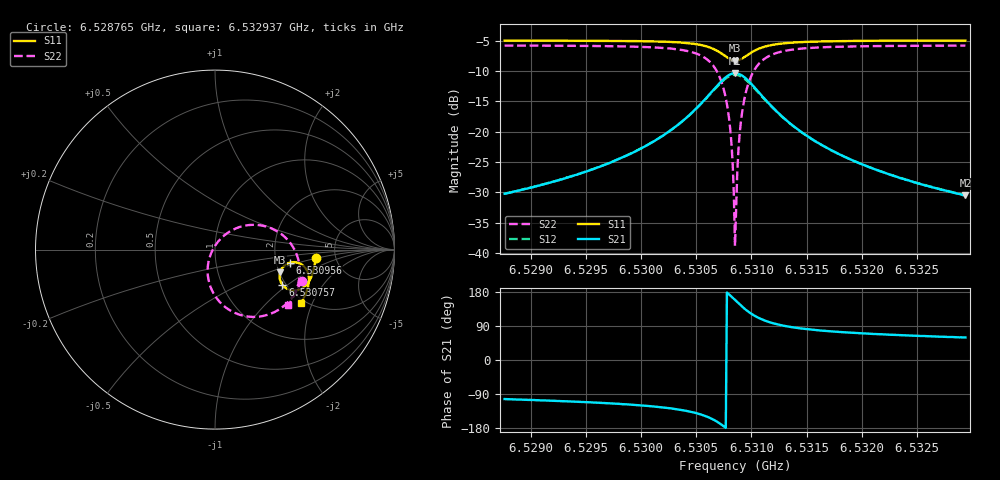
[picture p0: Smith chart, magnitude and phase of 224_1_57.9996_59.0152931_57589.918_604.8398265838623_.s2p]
#  HZ  S  RI  R  50.00
! Rohde & Schwarz Vector Network Analyzer
! Rohde-Schwarz,ZNB20-2Port,1311601062101988,3.16
! Created: UTC 3/21/2024, 1:00:16 AM
! freq[Hz]  re:S11  im:S11  re:S21  im:S21  re:S12  im:S12  re:S22  im:S22
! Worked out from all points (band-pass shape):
!   401 points, 6.528765 GHz to 6.532937 GHz, reference 50 ohm
!   highest |S21| = -10.38 dB at 6.530851 GHz (marker M1); lowest = -30.5 dB at 6.532937 GHz (marker M2)
!   |S21| within 3 dB of the highest: 6.530643 GHz to 6.53106 GHz (416.9 kHz wide, 0.00638 % of centre)
!   lowest |S11| = -8.3 dB at 6.530851 GHz (marker M3), VSWR 2.25, Z = 101 - j30.1 ohm
!   |S11| at or under -10 dB: nowhere
!   |S22| runs from -38.9 to -5.8 dB; largest |S21 - S12| = 0.012
!   S11 on the Smith chart (normalised r, x): 6.528765 GHz: 3.49, -0.49; 6.530757 GHz: 1.92, -0.91; 6.530956 GHz: 2.38, -0.42; 6.532937 GHz: 1.90, -1.66
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6.5287653e9  0.5603 -0.0484  -0.00696 -0.03  -0.00766 -0.0298  0.4822 -0.1724
6.5294641e9  0.5512 -0.1066  -0.0162 -0.0426  -0.0171 -0.0423  0.451 -0.2361
6.5301629e9  0.5241 -0.1763  -0.0493 -0.0733  -0.0514 -0.0718  0.3696 -0.3251
6.5304028e9  0.498 -0.2067  -0.0885 -0.0925  -0.0915 -0.0895  0.2895 -0.3643
6.5305801e9  0.4547 -0.2267  -0.1558 -0.0991  -0.1584 -0.0926  0.165 -0.3698
6.5306844e9  0.4102 -0.2222  -0.2248 -0.0731  -0.224 -0.0637  0.0496 -0.3139
6.5307574e9  0.3755 -0.1957  -0.2755 -0.0152  -0.2698 -0.00531  -0.0252 -0.2073
6.5307991e9  0.3623 -0.1682  -0.2913 0.0371  -0.2825 0.0452  -0.0413 -0.1178
6.53082e9  0.3598 -0.1518  -0.2918 0.0668  -0.2819 0.0733  -0.0365 -0.0691
6.5308304e9  0.3599 -0.1436  -0.2899 0.082  -0.2795 0.0875  -0.0304 -0.0446
6.5308408e9  0.3608 -0.1351  -0.2865 0.0969  -0.2759 0.1015  -0.022 -0.021
6.5308513e9  0.3628 -0.1268  -0.2816 0.1115  -0.2708 0.1151  -0.0112 0.00206
6.5308617e9  0.3656 -0.1188  -0.2753 0.1256  -0.2644 0.1283  0.00182 0.0239
6.5308721e9  0.3692 -0.1112  -0.2675 0.1391  -0.2568 0.1408  0.0169 0.0442
6.5308826e9  0.3735 -0.1041  -0.2585 0.1514  -0.2482 0.1522  0.0337 0.0627
6.5309034e9  0.3842 -0.0916  -0.2379 0.1728  -0.2283 0.1721  0.0715 0.094
6.5309556e9  0.4167 -0.073  -0.1785 0.2046  -0.1717 0.2016  0.1753 0.135
6.5310286e9  0.4591 -0.0726  -0.1041 0.2067  -0.1005 0.2037  0.3001 0.1236
6.5311329e9  0.4964 -0.0943  -0.0401 0.1762  -0.0383 0.1744  0.4029 0.0563
6.5315501e9  0.5234 -0.1734  0.0152 0.0852  0.0162 0.0848  0.4724 -0.1341
6.5322489e9  0.5056 -0.2451  0.0174 0.0408  0.0183 0.0406  0.4429 -0.2493
6.5329372e9  0.4798 -0.297  0.0152 0.0256  0.0157 0.0254  0.4078 -0.309
